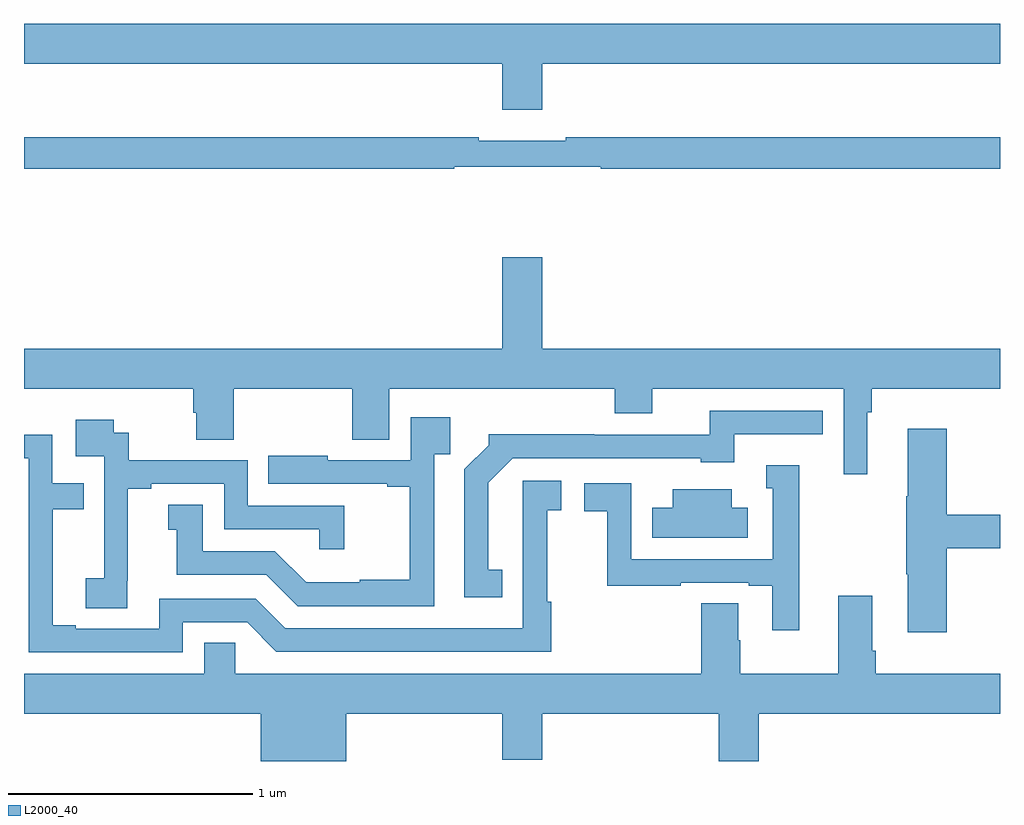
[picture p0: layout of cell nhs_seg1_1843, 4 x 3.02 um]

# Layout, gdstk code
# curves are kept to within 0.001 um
import gdstk
lib = gdstk.Library(unit=1e-6, precision=1e-09)
def P(c, l, *ps):  # polygons
    for p in ps: c.add(gdstk.Polygon(p, *l))
L2000_40 = (2000, 40)

nhs_seg1_1843 = lib.new_cell('nhs_seg1_1843')
P(nhs_seg1_1843, L2000_40, [(213.124,561.056),(215,561.056),(215,561.22),(211,561.22),(211,561.056),(212.96,561.056),(212.96,560.868),(213.124,560.868)],
  [(212.764,560.634),(213.364,560.634),(213.364,560.626),(215,560.626),(215,560.755),(213.22,560.755),(213.22,560.742),(212.864,560.742),(212.864,560.755),(211,560.755),(211,560.626),(212.764,560.626)],
  [(214.456,559.628),(214.475,559.628),(214.475,559.724),(215,559.724),(215,559.888),(213.124,559.888),(213.124,560.263),(212.96,560.263),(212.96,559.888),(211,559.888),(211,559.724),(211.694,559.724),(211.694,559.626),(211.706,559.626),(211.706,559.516),(211.859,559.516),(211.859,559.724),(212.345,559.724),(212.345,559.516),(212.497,559.516),(212.497,559.724),(213.422,559.724),(213.422,559.625),(213.574,559.625),(213.574,559.724),(214.359,559.724),(214.359,559.374),(214.456,559.374)],
  [(212.96,558.983),(212.902,558.983),(212.902,559.339),(213.003,559.44),(213.774,559.44),(213.774,559.424),(213.91,559.424),(213.91,559.539),(214.274,559.539),(214.274,559.635),(213.811,559.635),(213.811,559.536),(213.338,559.536),(213.338,559.538),(212.904,559.538),(212.904,559.493),(212.805,559.394),(212.805,558.87),(212.96,558.87)],
  [(212.682,559.457),(212.747,559.457),(212.747,559.609),(212.586,559.609),(212.586,559.431),(212.245,559.431),(212.245,559.45),(212.002,559.45),(212.002,559.335),(212.489,559.335),(212.489,559.323),(212.581,559.323),(212.581,558.943),(212.375,558.943),(212.375,558.931),(212.156,558.931),(212.028,559.059),(211.732,559.059),(211.732,559.25),(211.592,559.25),(211.592,559.147),(211.625,559.147),(211.625,558.963),(211.992,558.963),(212.121,558.834),(212.682,558.834)],
  [(211.424,558.937),(211.426,558.937),(211.426,559.315),(211.522,559.315),(211.522,559.335),(211.821,559.335),(211.821,559.149),(212.211,559.149),(212.211,559.068),(212.312,559.068),(212.312,559.245),(211.917,559.245),(211.917,559.431),(211.43,559.431),(211.43,559.545),(211.368,559.545),(211.368,559.597),(211.212,559.597),(211.212,559.449),(211.329,559.449),(211.329,559.145),(211.328,559.145),(211.328,558.948),(211.254,558.948),(211.254,558.826),(211.424,558.826)],
  [(214.781,559.072),(215,559.072),(215,559.208),(214.781,559.208),(214.781,559.561),(214.622,559.561),(214.622,559.285),(214.615,559.285),(214.615,558.964),(214.622,558.964),(214.622,558.726),(214.781,558.726)],
  [(211.65,558.768),(211.914,558.768),(212.034,558.648),(213.161,558.648),(213.161,558.851),(213.144,558.851),(213.144,559.227),(213.202,559.227),(213.202,559.348),(213.044,559.348),(213.045,558.744),(212.07,558.744),(211.95,558.864),(211.554,558.864),(211.554,558.741),(211.213,558.741),(211.213,558.756),(211.117,558.756),(211.117,559.23),(211.244,559.23),(211.244,559.338),(211.116,559.338),(211.116,559.536),(211,559.536),(211,559.44),(211.02,559.44),(211.02,558.645),(211.65,558.645)],
  [(214.177,559.411),(214.043,559.411),(214.043,559.317),(214.068,559.317),(214.068,559.026),(213.489,559.026),(213.489,559.338),(213.297,559.338),(213.297,559.222),(213.391,559.222),(213.391,558.918),(213.692,558.918),(213.692,558.93),(213.971,558.93),(213.971,558.918),(214.067,558.918),(214.067,558.735),(214.177,558.735)],
  [(213.967,559.237),(213.901,559.237),(213.901,559.312),(213.659,559.312),(213.659,559.237),(213.574,559.237),(213.574,559.115),(213.967,559.115)],
  [(212.32,558.392),(212.96,558.392),(212.96,558.204),(213.124,558.204),(213.124,558.392),(213.848,558.392),(213.848,558.199),(214.012,558.199),(214.012,558.392),(215,558.392),(215,558.556),(214.49,558.556),(214.49,558.652),(214.477,558.652),(214.477,558.877),(214.337,558.877),(214.337,558.556),(213.936,558.556),(213.936,558.695),(213.928,558.695),(213.928,558.845),(213.776,558.845),(213.776,558.556),(211.866,558.556),(211.866,558.683),(211.739,558.683),(211.739,558.556),(211,558.556),(211,558.392),(211.97,558.392),(211.97,558.199),(212.32,558.199)])

lib.write_gds('nhs_seg1_1843.gds')
